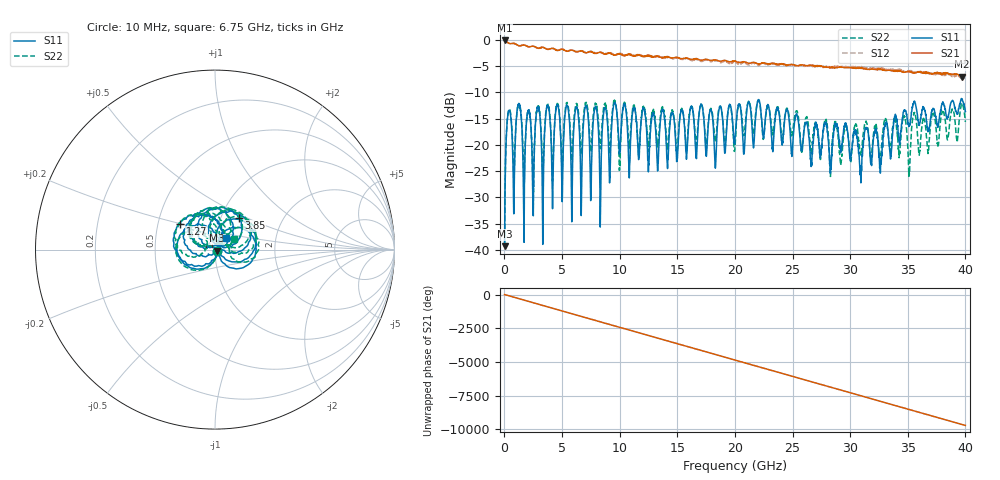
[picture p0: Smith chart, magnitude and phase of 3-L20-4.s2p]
! 2/21/2025 7:24:39 AM
! Z:\OQC\AD5\613\LOT-141-0825\SINGLE\3-L20-4.S2P
! CHANNEL.1
! TR.MEASUREMENT
! CORRECTED.DATA
! RF.CORRECTION: FULL.FOUR.PORT.CAL.PORT.1.2.3.4
! AVERAGING.OFF
! IF.BANDWIDTH: 1KHZ
! SWEEPTYPE:  FREQ.SWEEP(Linear)
! Reference Plane Port Info
! PORT:  PORT1  PORT2
! DISTANCE:  0  m  0  m
! TIME:  0  s  0  s
! PHASE.OFFSET:  0 °  0 °
! LOSS:  0  dB  0  dB
! REF.LOSS:  0  dB  0  dB
! REF.FREQ:  0  Hz  0  Hz
! Power Info
! POWER:  -10  dBm  -10  dBm
! EFF.POWER:  -10  dBm  -10  dBm
! SOURCE.ATTEN:  0  dB  0  dB
! TEST.ATTEN:  0  dB  0  dB
# GHZ S RI R 50.0
! FREQ.GHZ  S11RE  S11IM  S21RE  S21IM  S12RE  S12IM  S22RE  S22IM
!; PortSelection: Port_12
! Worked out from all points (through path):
!   4000 points, 10 MHz to 40 GHz, reference 50 ohm
!   highest |S21| = -0.09 dB at 10 MHz (marker M1); lowest = -7.0 dB at 39.7 GHz (marker M2)
!   group delay of S21, straight-line fit = 673 ps
!   lowest |S11| = -39.3 dB at 10 MHz (marker M3), VSWR 1.02, Z = 50.9 - j0.568 ohm
!   |S11| at or under -10 dB: start of sweep to end of sweep
!   |S22| runs from -39.2 to -11.4 dB; largest |S21 - S12| = 0.037
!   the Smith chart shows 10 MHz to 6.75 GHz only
!   S11 on the Smith chart (normalised r, x): 10 MHz: 1.02, -0.01; 1.27 GHz: 0.65, +0.20; 3.85 GHz: 1.21, +0.45; 6.75 GHz: 1.12, +0.15
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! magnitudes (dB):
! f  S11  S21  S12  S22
! 10 MHz  -39.3  -0.1  -0.1  -39.2
! 330 MHz  -13.8  -0.6  -0.6  -13.6
! 810 MHz  -33.2  -0.6  -0.6  -26.8
! 1.27 GHz  -12.4  -1.1  -1.1  -12.3
! 1.69 GHz  -38.5  -1.0  -0.9  -26.5
! 2.06 GHz  -13.5  -1.3  -1.3  -13.3
! 3.32 GHz  -39.0  -1.4  -1.4  -25.9
! 3.85 GHz  -13.1  -1.8  -1.7  -12.9
! 5.01 GHz  -30.8  -1.8  -1.8  -24.9
! 5.45 GHz  -12.5  -2.1  -2.1  -12.1
! 5.85 GHz  -33.5  -1.9  -1.9  -22.5
! 6.27 GHz  -12.8  -2.3  -2.2  -12.4
! 6.68 GHz  -29.9  -2.1  -2.1  -21.6
! 6.75 GHz  -21.1  -2.1  -2.1  -18.5
! 7.05 GHz  -12.6  -2.5  -2.3  -12.1
! 9.56 GHz  -12.1  -2.9  -2.8  -11.8
! 13.34 GHz  -23.5  -3.1  -3.1  -19.8
! 20.01 GHz  -18.5  -4.1  -4.2  -20.4
! 26.67 GHz  -23.7  -4.8  -4.9  -20.7
! 33.34 GHz  -18.7  -5.8  -5.6  -18.8
! 39.7 GHz  -11.3  -7.0  -7.4  -12.2
! 40 GHz  -13.7  -6.7  -7.0  -15.6
